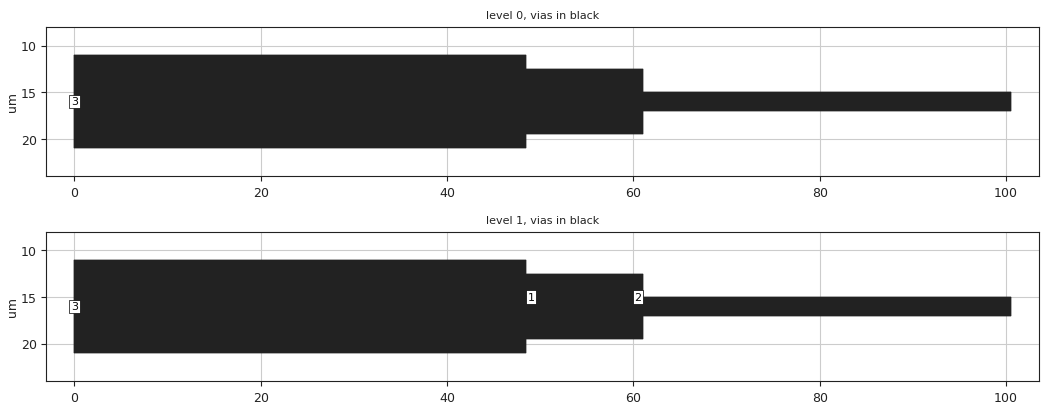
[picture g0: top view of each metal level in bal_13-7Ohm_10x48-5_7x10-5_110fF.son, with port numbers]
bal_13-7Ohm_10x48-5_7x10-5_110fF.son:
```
FTYP SONPROJ 1 ! Sonnet Project File
VER 9.52
HEADER
LIC cambridge1.11268
DAT 03/17/2004 15:09:40
MDATE 03/17/2004 15:09:27
HDATE 03/17/2004 15:09:27
END HEADER
DIM
FREQ GHZ
IND NH
LNG UM
ANG DEG
CON /OH
CAP PF
RES OH
END DIM
FREQ
ABS 300.0 900.0 
END FREQ
CONTROL
ABS
OPTIONS  -dj 
SPEED 0
CACHE_ABS 1
TARG_ABS 300
END CONTROL
GEO
SYM
TMET "Free Space" 0 FREESPACE 376.7303136 0 0 0
BMET "Nb (low Freq) 2.5K" 1 SUP 0 0 0 0.139
MET "Nb (low Freq) 2.5K" 1 SUP 0 0 0 0.139
BOX 2 128 32 512 128 20 0
      100 1 1 0 0 0 2 "Unnamed"
      0.4 1 1 0 0 0 2 "Unnamed"
      0.42 5.8 1 0.0004 0 0 2 "SiO"
POR1 STD
POLY 1038 1
3
3 13.7 0 0 0 0 16 
POR1 STD
POLY 1011 1
3
3 13.7 0 0 0 0 16 
POR1 STD
POLY 1027 1
0
2 13.7 0 0 1.1e-13 60.5 15 
POR1 STD
POLY 1028 1
0
1 13.7 0 0 1.1e-13 49 15 
NUM 12
0 5 0 N 1004 1 1 100 100 0 0 0 Y
48.5 12.5
61 12.5
61 19.5
48.5 19.5
48.5 12.5
END
0 5 0 N 1005 1 1 100 100 0 0 0 Y
61 15
100.5 15
100.5 17
61 17
61 15
END
0 5 0 N 1038 1 1 100 100 0 0 0 Y
0 11
48.5 11
48.5 21
0 21
0 11
END
1 5 0 N 1011 1 1 100 100 0 0 0 Y
0 11
48.5 11
48.5 21
0 21
0 11
END
1 5 0 N 1014 1 1 100 100 0 0 0 Y
48.5 12.5
61 12.5
61 19.5
48.5 19.5
48.5 12.5
END
1 5 0 N 1026 1 1 100 100 0 0 0 Y
61 15
100.5 15
100.5 17
61 17
61 15
END
VIA POLYGON
1 5 0 N 1023 1 1 100 100 0 0 0 Y
TOLEVEL 0
48.5 12.5
61 12.5
61 19.5
48.5 19.5
48.5 12.5
END
VIA POLYGON
1 5 0 N 1017 1 1 100 100 0 0 0 Y
TOLEVEL 0
61 15
100.5 15
100.5 17
61 17
61 15
END
VIA POLYGON
1 5 0 N 1042 1 1 100 100 0 0 0 Y
TOLEVEL 0
0 11
48.5 11
48.5 21
0 21
0 11
END
VIA POLYGON
2 5 0 N 1008 1 1 100 100 0 0 0 Y
TOLEVEL 1
100 15
100.5 15
100.5 17
100 17
100 15
END
VIA POLYGON
2 5 0 N 1027 1 1 100 100 0 0 0 Y
TOLEVEL 1
60 15
61 15
61 17
60 17
60 15
END
VIA POLYGON
2 5 0 N 1028 1 1 100 100 0 0 0 Y
TOLEVEL 1
48.5 15
49.5 15
49.5 17
48.5 17
48.5 15
END
END GEO
OPT
MAX 100
VARS
END OPT
VARSWP
END VARSWP
QSG
IMPORT NO
EXTRA_METAL NO
UNITS NO
ALIGN NO
REF NO
VIEW_RES NO
METALS YES
USED YES
END QSG
```
